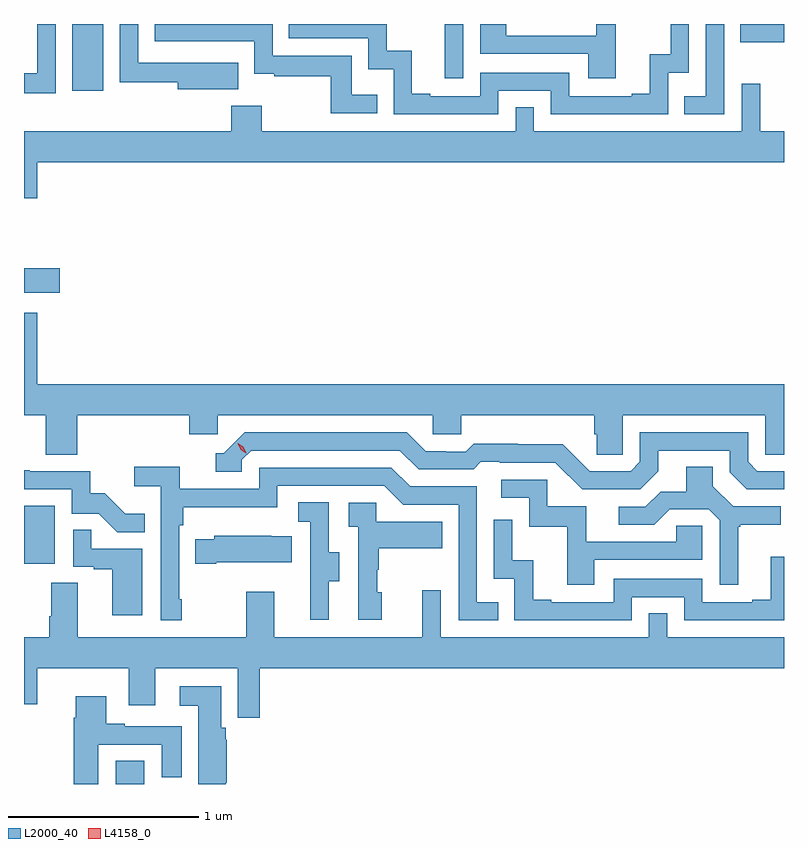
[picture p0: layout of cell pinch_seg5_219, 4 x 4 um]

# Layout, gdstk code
import gdstk
lib = gdstk.Library(unit=1e-6, precision=1e-09)
def R(c, l, rs):  # rectangles x0, y0, x1, y1
    for r in rs: c.add(gdstk.rectangle(r[:2], r[2:], *l))
def P(c, l, *ps):  # polygons
    for p in ps: c.add(gdstk.Polygon(p, *l))
L2000_40 = (2000, 40)
L4158_0 = (4158, 0)

pinch_seg5_219 = lib.new_cell('pinch_seg5_219')
R(pinch_seg5_219, L2000_40, [(980.768,904.104,980.917,904.226), (980.285,905.262,980.446,905.569), (980.285,906.689,980.473,906.819), (980.54,907.752,980.701,908.104), (982.499,907.818,982.596,908.104), (984.055,908.009,984.285,908.104)])
P(pinch_seg5_219, L2000_40, [(982.782,907.752),(983.058,907.752),(983.058,907.629),(983.676,907.629),(983.676,907.848),(983.784,907.848),(983.784,908.104),(983.688,908.104),(983.688,907.946),(983.579,907.946),(983.579,907.738),(983.483,907.738),(983.483,907.725),(983.154,907.725),(983.154,907.848),(982.686,907.848),(982.686,907.725),(982.423,907.725),(982.423,907.738),(982.327,907.738),(982.327,907.963),(982.194,907.963),(982.194,908.104),(981.679,908.104),(981.679,908.028),(982.098,908.028),(982.098,907.865),(982.23,907.865),(982.23,907.629),(982.782,907.629)],
  [(983.399,908.104),(983.297,908.104),(983.297,908.043),(982.823,908.043),(982.823,908.104),(982.686,908.104),(982.686,907.947),(983.255,907.947),(983.255,907.818),(983.399,907.818)],
  [(980.451,908.104),(980.355,908.104),(980.355,907.845),(980.285,907.845),(980.285,907.74),(980.451,907.74)],
  [(982.145,907.732),(982.011,907.732),(982.011,907.938),(981.594,907.938),(981.594,908.104),(980.973,908.104),(980.973,908.013),(981.498,908.013),(981.498,907.841),(981.601,907.841),(981.601,907.83),(981.9,907.83),(981.9,907.635),(982.145,907.635)],
  [(983.97,908.104),(983.874,908.104),(983.874,907.725),(983.761,907.725),(983.761,907.629),(983.97,907.629)],
  [(981.413,907.9),(981.199,907.9),(981.199,907.899),(980.886,907.899),(980.886,908.104),(980.79,908.104),(980.79,907.798),(981.095,907.798),(981.095,907.76),(981.413,907.76)],
  [(980.356,907.376),(984.285,907.376),(984.285,907.54),(984.161,907.54),(984.161,907.789),(984.063,907.789),(984.063,907.54),(982.968,907.54),(982.968,907.667),(982.872,907.667),(982.872,907.54),(981.537,907.54),(981.537,907.675),(981.377,907.675),(981.377,907.54),(980.285,907.54),(980.285,907.188),(980.356,907.188)],
  [(980.356,906.583),(980.285,906.583),(980.285,906.044),(980.399,906.044),(980.399,905.836),(980.564,905.836),(980.564,906.044),(981.155,906.044),(981.155,905.946),(981.306,905.946),(981.306,906.044),(982.437,906.044),(982.437,905.946),(982.587,905.946),(982.587,906.044),(983.285,906.044),(983.285,905.946),(983.299,905.946),(983.299,905.836),(983.436,905.836),(983.436,906.044),(984.186,906.044),(984.186,905.836),(984.285,905.836),(984.285,906.208),(980.356,906.208)],
  [(983.623,905.749),(983.623,905.859),(984,905.859),(984,905.745),(984.09,905.655),(984.285,905.655),(984.285,905.751),(984.144,905.751),(984.096,905.799),(984.096,905.955),(983.526,905.955),(983.526,905.799),(983.478,905.751),(983.262,905.751),(983.12,905.893),(982.884,905.893),(982.884,905.896),(982.651,905.896),(982.609,905.853),(982.506,905.853),(982.506,905.856),(982.399,905.856),(982.3,905.955),(981.447,905.955),(981.336,905.844),(981.293,905.844),(981.293,905.748),(981.432,905.748),(981.432,905.811),(981.48,905.859),(982.263,905.859),(982.362,905.76),(982.651,905.76),(982.69,905.799),(982.789,905.799),(982.789,905.796),(983.082,905.796),(983.223,905.655),(983.529,905.655)],
  [(984.043,905.457),(984.055,905.457),(984.055,905.468),(984.268,905.468),(984.268,905.565),(984.018,905.565),(983.911,905.672),(983.911,905.774),(983.771,905.774),(983.771,905.642),(983.636,905.642),(983.556,905.562),(983.415,905.562),(983.415,905.469),(983.602,905.469),(983.683,905.55),(983.889,905.55),(983.946,905.493),(983.946,905.154),(984.043,905.154)],
  [(981.115,905.077),(981.102,905.077),(981.102,905.465),(981.122,905.465),(981.122,905.561),(981.618,905.561),(981.618,905.673),(982.182,905.673),(982.281,905.574),(982.572,905.574),(982.572,904.965),(982.781,904.965),(982.781,905.061),(982.668,905.061),(982.668,905.67),(982.318,905.67),(982.219,905.769),(981.522,905.769),(981.522,905.658),(981.104,905.658),(981.104,905.774),(980.865,905.774),(980.865,905.672),(981.006,905.672),(981.006,904.965),(981.115,904.965)],
  [(980.921,905.527),(980.817,905.527),(980.71,905.634),(980.634,905.634),(980.634,905.751),(980.315,905.751),(980.315,905.756),(980.285,905.756),(980.285,905.655),(980.535,905.655),(980.535,905.526),(980.679,905.526),(980.777,905.428),(980.921,905.428)],
  [(983.287,905.283),(983.856,905.283),(983.856,905.463),(983.719,905.463),(983.719,905.379),(983.245,905.379),(983.245,905.565),(983.04,905.565),(983.04,905.706),(982.797,905.706),(982.797,905.61),(982.944,905.61),(982.944,905.457),(983.143,905.457),(983.143,905.154),(983.287,905.154)],
  [(981.889,905.17),(981.943,905.17),(981.943,905.325),(981.888,905.325),(981.888,905.588),(981.729,905.588),(981.729,905.485),(981.792,905.485),(981.792,905.181),(981.791,905.181),(981.791,904.968),(981.889,904.968)],
  [(982.168,905.112),(982.143,905.112),(982.143,905.231),(982.153,905.231),(982.153,905.345),(982.487,905.345),(982.487,905.485),(982.14,905.485),(982.14,905.583),(981.993,905.583),(981.993,905.459),(982.044,905.459),(982.044,904.968),(982.168,904.968)],
  [(983.484,905.088),(983.76,905.088),(983.76,904.965),(984.285,904.965),(984.285,905.299),(984.215,905.299),(984.215,905.074),(984.119,905.074),(984.119,905.061),(983.856,905.061),(983.856,905.184),(983.388,905.184),(983.388,905.061),(983.059,905.061),(983.059,905.074),(982.964,905.074),(982.964,905.282),(982.854,905.282),(982.854,905.494),(982.758,905.494),(982.758,905.184),(982.866,905.184),(982.866,904.965),(983.484,904.965)],
  [(980.908,905.343),(980.639,905.343),(980.639,905.441),(980.544,905.441),(980.544,905.247),(980.651,905.247),(980.651,905.235),(980.75,905.235),(980.75,904.992),(980.908,904.992)],
  [(981.298,905.27),(981.695,905.27),(981.695,905.407),(981.587,905.407),(981.587,905.41),(981.285,905.41),(981.285,905.392),(981.187,905.392),(981.187,905.263),(981.298,905.263)],
  [(981.527,904.712),(984.285,904.712),(984.285,904.876),(983.67,904.876),(983.67,905.003),(983.574,905.003),(983.574,904.876),(982.479,904.876),(982.479,905.125),(982.382,905.125),(982.382,904.876),(981.601,904.876),(981.601,905.116),(981.454,905.116),(981.454,904.876),(980.569,904.876),(980.569,905.162),(980.429,905.162),(980.429,904.988),(980.417,904.988),(980.417,904.876),(980.285,904.876),(980.285,904.524),(980.356,904.524),(980.356,904.712),(980.837,904.712),(980.837,904.518),(980.977,904.518),(980.977,904.712),(981.411,904.712),(981.411,904.452),(981.527,904.452)],
  [(981.347,904.106),(981.353,904.112),(981.353,904.338),(981.347,904.338),(981.347,904.401),(981.322,904.401),(981.322,904.618),(981.105,904.618),(981.105,904.517),(981.203,904.517),(981.203,904.104),(981.347,904.104)],
  [(980.677,904.311),(981.011,904.311),(981.011,904.14),(981.115,904.14),(981.115,904.407),(980.815,904.407),(980.815,904.42),(980.719,904.42),(980.719,904.567),(980.558,904.567),(980.558,904.454),(980.546,904.454),(980.546,904.104),(980.677,904.104)])
P(pinch_seg5_219, L4158_0, [(981.456,905.845),(981.425,905.864),(981.409,905.897),(981.409,905.897),(981.409,905.897),(981.44,905.878),(981.456,905.846),(981.456,905.845)])

lib.write_gds('pinch_seg5_219.gds')
